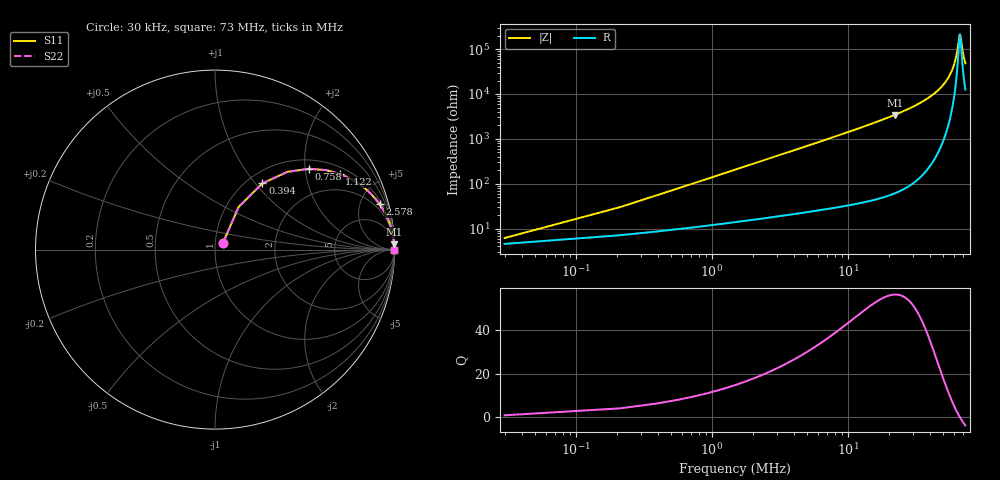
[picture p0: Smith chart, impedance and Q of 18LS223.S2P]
! Coilcraft 1812LS-223 Chip Inductor
! 8 August 2002
# MHZ S MA R 50
!Freq  MagS11  AngS11  MagS21  AngS21  MagS12  AngS12  MagS22  AngS22
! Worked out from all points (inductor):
!   402 points, 30 kHz to 73 MHz, reference 50 ohm
!   read as one part in series: L = 22 uH near 394 kHz
!   highest Q = 56.3 at 22.05 MHz (marker M1), where L = 24.7 uH
!   self-resonance near 66.46 MHz
!   S11 on the Smith chart (normalised r, x): 30 kHz: 1.09, +0.08; 394 kHz: 1.17, +1.09; 758 kHz: 1.22, +2.10; 1.122 MHz: 1.25, +3.10; 2.578 MHz: 1.35, +7.14; 73 MHz: open
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0.03  0.05882 40.1  0.9558 -2.3  0.9558 -2.3  0.05882 40.1
0.394  0.4538 54.4  0.8231 -26.6  0.8231 -26.6  0.4538 54.4
0.576  0.5916 47.0  0.7374 -36.0  0.7374 -36.0  0.5916 47.0
0.758  0.6908 40.7  0.6558 -43.4  0.6558 -43.4  0.6908 40.7
1.122  0.8122 31.3  0.5219 -54.1  0.5219 -54.1  0.8122 31.3
1.668  0.8975 22.8  0.3882 -63.6  0.3882 -63.6  0.8975 22.8
2.578  0.9511 15.4  0.2662 -71.8  0.2662 -71.8  0.9511 15.4
4.216  0.9798 9.6  0.1673 -78.3  0.1673 -78.3  0.9798 9.6
6.218  0.9901 6.6  0.1141 -81.8  0.1141 -81.8  0.9901 6.6
12.224  0.9972 3.3  0.05701 -85.5  0.05701 -85.5  0.9972 3.3
22.052  0.9991 1.7  0.02917 -87.3  0.02917 -87.3  0.9991 1.7
24.418  0.9992 1.5  0.02562 -87.5  0.02562 -87.5  0.9992 1.5
36.612  0.9996 0.8  0.01378 -87.8  0.01378 -87.8  0.9996 0.8
48.806  0.9996 0.4  0.00686 -86.7  0.00686 -86.7  0.9996 0.4
56.086  0.9996 0.2  0.003761 -83.9  0.003761 -83.9  0.9996 0.2
61  0.9996 0.1  0.001949 -77.5  0.001949 -77.5  0.9996 0.1
63.366  0.9996 0.1  0.001162 -67.7  0.001162 -67.7  0.9996 0.1
65.914  0.9995 0.0  0.0005119 -25.4  0.0005119 -25.4  0.9995 0.0
66.642  0.9995 -0.0  0.0004696 2.3  0.0004696 2.3  0.9995 -0.0
67.37  0.9995 -0.0  0.0005398 28.1  0.0005398 28.1  0.9995 -0.0
70.282  0.9995 -0.1  0.001277 66.6  0.001277 66.6  0.9995 -0.1
73  0.9995 -0.1  0.002067 74.9  0.002067 74.9  0.9995 -0.1
